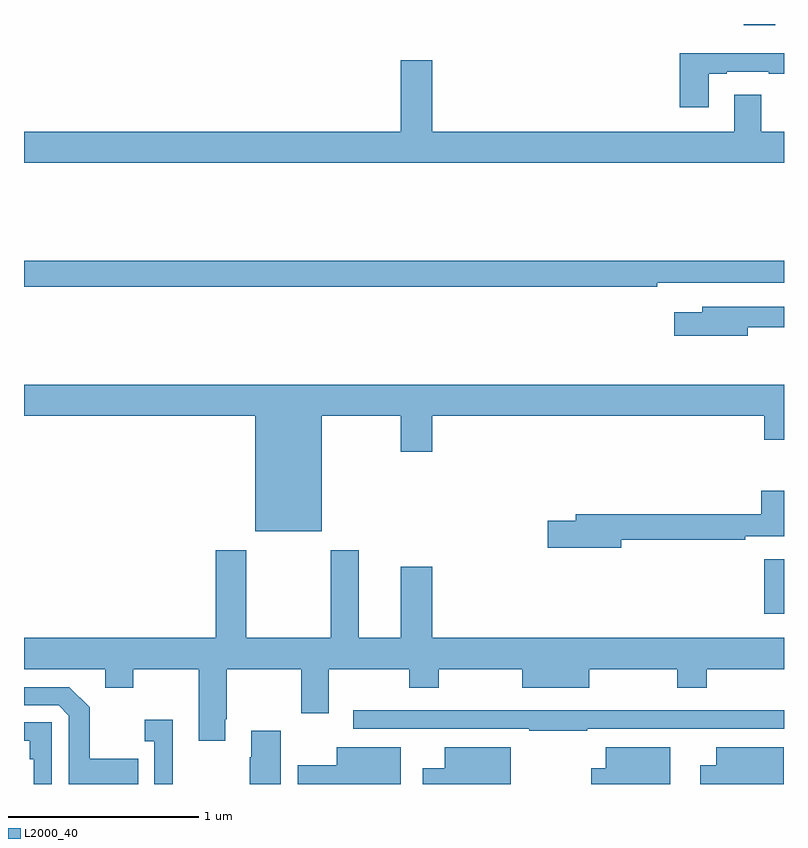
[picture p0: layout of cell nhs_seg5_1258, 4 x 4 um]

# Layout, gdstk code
import gdstk
lib = gdstk.Library(unit=1e-6, precision=1e-09)
def R(c, l, rs):  # rectangles x0, y0, x1, y1
    for r in rs: c.add(gdstk.rectangle(r[:2], r[2:], *l))
def P(c, l, *ps):  # polygons
    for p in ps: c.add(gdstk.Polygon(p, *l))
L2000_40 = (2000, 40)

nhs_seg5_1258 = lib.new_cell('nhs_seg5_1258')
R(nhs_seg5_1258, L2000_40, [(190.895,879.696,191,879.982), (190.787,882.792,190.954,882.799)])
P(nhs_seg5_1258, L2000_40, [(190.603,882.537),(190.699,882.537),(190.699,882.549),(190.919,882.549),(190.919,882.537),(191,882.537),(191,882.646),(190.451,882.646),(190.451,882.36),(190.603,882.36)],
  [(191,882.232),(190.879,882.232),(190.879,882.427),(190.739,882.427),(190.739,882.232),(189.148,882.232),(189.148,882.607),(188.984,882.607),(188.984,882.232),(187,882.232),(187,882.068),(191,882.068)],
  [(190.334,881.436),(191,881.436),(191,881.552),(187,881.552),(187,881.416),(190.334,881.416)],
  [(190.81,881.202),(191,881.202),(191,881.31),(190.571,881.31),(190.571,881.281),(190.422,881.281),(190.422,881.159),(190.81,881.159)],
  [(188.566,880.736),(188.984,880.736),(188.984,880.548),(189.148,880.548),(189.148,880.736),(190.895,880.736),(190.895,880.612),(191,880.612),(191,880.9),(187,880.9),(187,880.736),(188.216,880.736),(188.216,880.13),(188.566,880.13)],
  [(190.144,880.084),(190.796,880.084),(190.796,880.104),(191,880.104),(191,880.342),(190.88,880.342),(190.88,880.22),(189.905,880.22),(189.905,880.184),(189.756,880.184),(189.756,880.042),(190.144,880.042)],
  [(188.059,879.139),(188.067,879.139),(188.067,879.404),(188.458,879.404),(188.458,879.171),(188.605,879.171),(188.605,879.404),(189.028,879.404),(189.028,879.305),(189.183,879.305),(189.183,879.404),(189.623,879.404),(189.623,879.305),(189.976,879.305),(189.976,879.404),(190.438,879.404),(190.438,879.305),(190.593,879.305),(190.593,879.404),(191,879.404),(191,879.568),(189.148,879.568),(189.148,879.943),(188.984,879.943),(188.984,879.568),(188.761,879.568),(188.761,880.03),(188.614,880.03),(188.614,879.568),(188.169,879.568),(188.169,880.03),(188.009,880.03),(188.009,879.568),(187,879.568),(187,879.404),(187.427,879.404),(187.427,879.305),(187.575,879.305),(187.575,879.404),(187.919,879.404),(187.919,879.027),(188.059,879.027)],
  [(187.601,878.931),(187.345,878.931),(187.345,879.203),(187.239,879.309),(187,879.309),(187,879.213),(187.182,879.213),(187.236,879.159),(187.236,878.799),(187.601,878.799)],
  [(189.965,879.09),(191,879.09),(191,879.186),(190.937,879.186),(190.937,879.188),(190.681,879.188),(190.681,879.186),(190.349,879.186),(190.349,879.188),(190.072,879.188),(190.072,879.186),(189.527,879.186),(189.527,879.188),(189.271,879.188),(189.271,879.186),(188.733,879.186),(188.733,879.09),(189.658,879.09),(189.658,879.078),(189.965,879.078)],
  [(187.782,878.869),(187.783,878.869),(187.783,879.136),(187.635,879.136),(187.635,879.023),(187.686,879.023),(187.686,878.799),(187.782,878.799)],
  [(187.146,879.123),(187,879.123),(187,879.027),(187.03,879.027),(187.03,878.93),(187.05,878.93),(187.05,878.799),(187.146,878.799)],
  [(188.35,879.079),(188.195,879.079),(188.195,878.939),(188.188,878.939),(188.188,878.799),(188.35,878.799)],
  [(188.983,878.992),(188.645,878.992),(188.645,878.899),(188.442,878.899),(188.442,878.799),(188.983,878.799)],
  [(189.562,878.992),(189.215,878.992),(189.215,878.881),(189.098,878.881),(189.098,878.799),(189.562,878.799)],
  [(190.402,878.992),(190.061,878.992),(190.061,878.881),(189.986,878.881),(189.986,878.799),(190.402,878.799)],
  [(190.999,878.992),(190.643,878.992),(190.643,878.899),(190.559,878.899),(190.559,878.799),(190.999,878.799)])

lib.write_gds('nhs_seg5_1258.gds')
